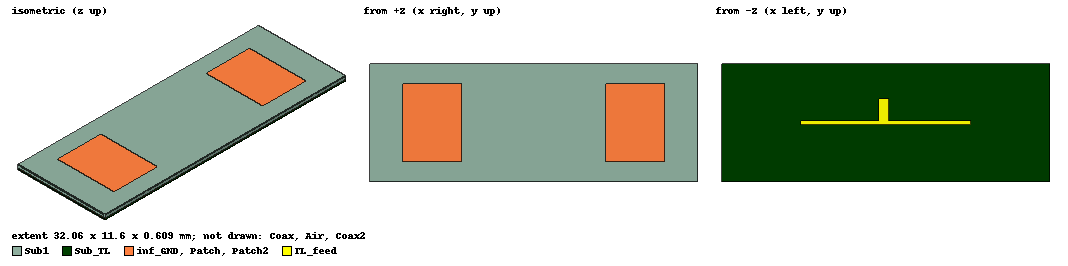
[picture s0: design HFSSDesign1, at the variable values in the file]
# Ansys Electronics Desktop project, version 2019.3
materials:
  vacuum: permittivity=1
  Rogers RT/duroid 5880 (tm): permittivity=2.2 dielectric_loss_tangent=0.0009
  pec: conductivity=1e+30
  Rogers RO4003 (tm): permittivity=3.55 dielectric_loss_tangent=0.0027

design HFSSDesign1 (HFSS, DrivenModal, model units mm)
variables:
  Lp = 5.78mm
  Wp = 7.54mm
  hs = 0.406mm
  Ws = Wp+10*hs
  Ls = 16*hs+2*Lp+dp
  xsub = -Ls/2
  ysub = -Ws/2
  xfeed = 1.1mm  # optimise 0.4620027115mm..1.3860081345mm
  dp = 14mm
  rcoax = 0.16mm
  hcoax = 0.203mm
  rprope = 0.07mm
  Lair = 0.01+Ls
  Wair = 0.01+Ws
  xair = Lair/2
  yair = Wair/2
  hair = 5.3mm
  yfeed = 0mm
  xp = dp/2
  yp = -Wp/2
  hgnd = -0.032mm
  Xcoax = 2
  WTL_In = 0.673367mm
  LTL_feed = 2.179292mm
  WTL_feed = 0.976256mm
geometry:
  Sub1 [Rogers RO4003 (tm)] = box(corner=(xsub, ysub, 0mm), size=(Ls, Ws, hs))
  Patch [Rogers RT/duroid 5880 (tm)] = rectangle(corner=(xp, yp, hs), x_size=Lp, y_size=Wp)
  Coax [vacuum] = cylinder(axis=Z, base_centre=(xp+xfeed, yfeed, 0mm), radius=rcoax, height=-hcoax)
  Coax_Pin [pec] = cylinder(axis=Z, base_centre=(xp+xfeed, yfeed, 0mm), radius=rprope, height=-hcoax)
  Prope [pec] = cylinder(axis=Z, base_centre=(xp+xfeed, yfeed, 0mm), radius=rprope, height=hs)
  Air [vacuum] = box(corner=(-xair, -yair, -hcoax), size=(Lair, Wair, hair))
  Patch2 = rectangle(corner=(-xp, yp, hs), x_size=-Lp, y_size=Wp)
  Coax2 [vacuum] = cylinder(axis=Z, base_centre=(-(xp+xfeed), yfeed, 0mm), radius=rcoax, height=-hcoax)
  Coax_Pin2 [pec] = cylinder(axis=Z, base_centre=(-(xp+xfeed), yfeed, 0mm), radius=rprope, height=-hcoax)
  Prope2 [pec] = cylinder(axis=Z, base_centre=(-(xp+xfeed), yfeed, 0mm), radius=rprope, height=hs)
  inf_GND [pec] = box(corner=(xsub, ysub, 0mm), size=(Ls, Ws, hgnd))
  Cylinder_cut_2 = cylinder(axis=Z, base_centre=(-(xp+xfeed), yfeed, 0), radius=rcoax, height=hgnd)
  Cylinder_cut_1 = cylinder(axis=Z, base_centre=(xp+xfeed, yfeed, 0), radius=rcoax, height=hgnd)
  inf_GND.subtract(Cylinder_cut_1)
  inf_GND.subtract(Cylinder_cut_2)
  Sub_TL [Rogers RO4003 (tm)] = box(corner=(xsub, ysub, 0mm), size=(Ls, Ws, -hcoax))
  TL_In = rectangle(corner=(xfeed+xp+rcoax, yfeed -rcoax, -hcoax), x_size=-2*(xfeed+xp+rcoax), y_size=Xcoax * rcoax)
  TL_feed = rectangle(corner=(-WTL_In/2, yfeed -rcoax+Xcoax * rcoax, -hcoax), x_size=WTL_feed, y_size=LTL_feed)
  TL_feed.unite(TL_In)
  Input_Port = rectangle(corner=(0.6361935mm, (4.373002-2.03371) mm, -0.203mm), z_size=hcoax+hgnd, x_size=-WTL_feed)
  group Input_feed1 = Coax, Coax_Pin, Prope
  group Input_feed2 = Coax2, Coax_Pin2, Prope2
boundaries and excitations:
  PerfE_Patch: Perfect E Objects=Patch
  Rad1: Radiation Faces=Air.face(+x, +y, -y, -x, +z)
  PerfE1: Perfect E Objects=Patch2
  PerfE2: Perfect E Objects=TL_feed
  1: Lumped Port Objects=Input_Port Modes{Mode1{IntLine{middle of Input_Port.edge(z at corner) -> middle of Input_Port.edge(z opposite corner)} CharImp=Zpi RenormImp=50ohm}} Impedance=5.91ohm
  reference conductors: inf_GND
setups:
  Setup1: HfssDriven Frequency=20GHz MaxDeltaS=0.02 MaximumPasses=18 MinimumPasses=1 MinimumConvergedPasses=1 PercentRefinement=30 BasisOrder=1 PortAccuracy=2
    sweep Sweep: 20GHz to 21GHz step 1GHz; Type=Fast SaveFields SaveRadFields
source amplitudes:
  1:1: 1W 0deg
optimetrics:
  ParametricSetup1: Parametric Sim._Setups=[Setup1]
    sweep dp: LIN 0.1mm 5mm 0.1mm
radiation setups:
  e_plane: Infinite Sphere Theta=-180deg..180deg step 2deg Phi=0deg..0deg step 1deg
  h_plane: Infinite Sphere Theta=-180deg..180deg step 2deg Phi=90deg..90deg step 1deg
  3d: Infinite Sphere Theta=-180deg..180deg step 2deg Phi=0deg..360deg step 2deg
  Infinite Sphere1: Infinite Sphere Theta=-180deg..180deg step 2deg Phi=0deg..360deg step 2deg
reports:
  Eradation_pattern: abs(rETotal) vs Theta on Setup1 : LastAdaptive, e_plane [Phi=all Freq=20GHz]
  Hradation_pattern: abs(rETotal) vs Theta on Setup1 : LastAdaptive, h_plane [Phi=all Freq=20GHz]
  Gain_3D: mag(GainTotal) vs Phi, Theta on Setup1 : LastAdaptive, 3d [Freq=20GHz]
  Gain_2D: dB10normalize(rETotal) vs Theta on Setup1 : Sweep, e_plane [Phi=all Freq=20GHz]; markers m1 at 28deg, m2 at -28deg, m3 at 62deg, m4 at -64deg, m5 at 78deg, m6 at -76deg, m7 at -116deg, m8 at 116deg, m9 at 180deg
  VSWR: VSWR(1) vs Freq on Setup1 : Sweep; markers MX1 at x=2.003672e+10
  C0_X_db: dB(GainPhi), dB(GainTheta) vs Theta on Setup1 : Sweep, 3d [Phi=0deg Freq=20GHz]; markers m1 at 4deg, m2 at 2deg
  S11: dB(S(1,1)) vs Freq on Setup1 : Sweep [rprope=all]; markers MX1 at x=2.0317195e+10, MY1 at y=-10.0582
  Zin: mag(Z(1,1)) vs Freq on Setup1 : Sweep; markers MX1 at x=2e+10
  S Parameter Chart 1: S(1,1) on Setup1 : Sweep [Freq=all]
  Gain Plot 1: dB(GainTotal) vs Freq on Setup1 : Sweep, Infinite Sphere1 [Phi=0deg Theta=0deg dp=all]
  Gain Plot 2: dB(GainTotal) vs Theta on Setup1 : Sweep, Infinite Sphere1 [Phi=0deg Freq=20GHz dp=7.9mm]; markers m1 at 0deg
  Gain Plot 2_1: dB10normalize(GainTotal) vs Theta on Setup1 : Sweep, Infinite Sphere1 [Phi=0deg,90deg Freq=20GHz dp=all]; markers m1 at 0deg
